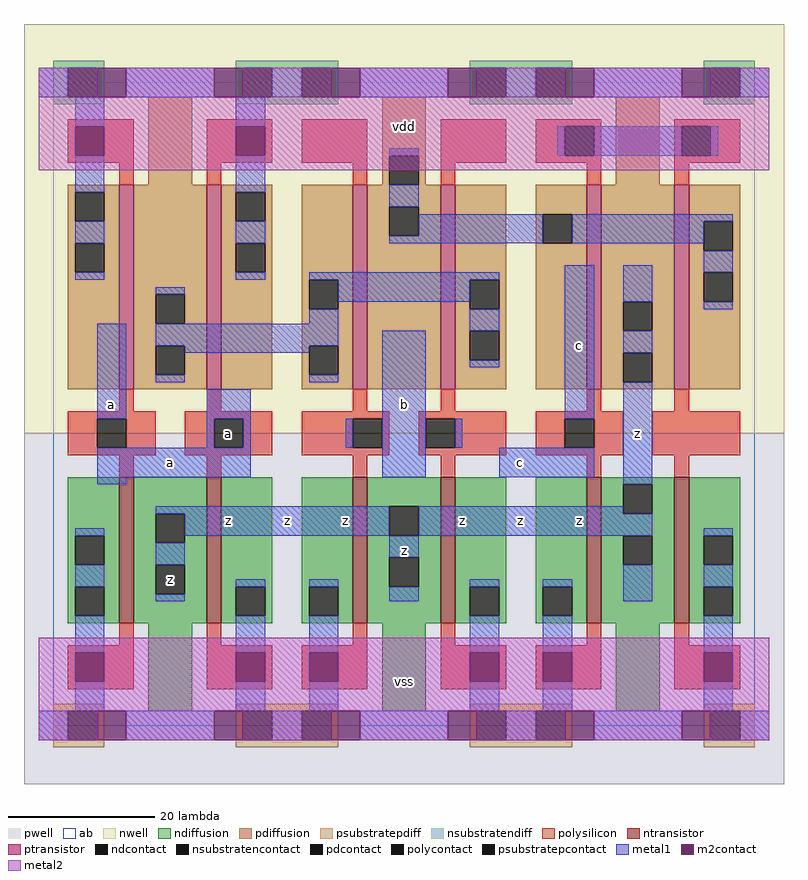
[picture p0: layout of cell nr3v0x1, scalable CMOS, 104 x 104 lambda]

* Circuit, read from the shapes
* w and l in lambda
.subckt nr3v0x1 a b c vdd vss z
M1 z a vss vss nfet w=20 l=2 m=2
M2 z b vss vss nfet w=20 l=2 m=2
M3 z c vss vss nfet w=20 l=2 m=2
M4 n1 a vdd vdd pfet w=28 l=2 m=2
M5 n2 b n1 vdd pfet w=28 l=2 m=2
M6 z c n2 vdd pfet w=28 l=2 m=2
.ends

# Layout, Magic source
magic
tech scmos
<< ab >>
rect 0 0 96 88
<< pwell >>
rect -4 -8 100 40
<< nwell >>
rect -4 40 100 96
<< polysilicon >>
rect 2 77 11 83
rect 9 74 11 77
rect 21 77 30 83
rect 34 77 43 83
rect 21 74 23 77
rect 41 74 43 77
rect 53 77 62 83
rect 66 82 75 83
rect 66 78 70 82
rect 74 78 75 82
rect 66 77 75 78
rect 53 74 55 77
rect 73 74 75 77
rect 85 82 94 83
rect 85 78 86 82
rect 90 78 94 82
rect 85 77 94 78
rect 85 74 87 77
rect 9 43 11 46
rect 21 43 23 46
rect 41 43 43 46
rect 53 43 55 46
rect 73 43 75 46
rect 85 43 87 46
rect 2 42 14 43
rect 2 38 6 42
rect 10 38 14 42
rect 2 37 14 38
rect 18 42 30 43
rect 18 38 22 42
rect 26 38 30 42
rect 18 37 30 38
rect 34 42 46 43
rect 34 38 41 42
rect 45 38 46 42
rect 34 37 46 38
rect 50 42 62 43
rect 50 38 51 42
rect 55 38 62 42
rect 50 37 62 38
rect 66 42 78 43
rect 66 38 70 42
rect 74 38 78 42
rect 66 37 78 38
rect 82 37 94 43
rect 9 34 11 37
rect 21 34 23 37
rect 41 34 43 37
rect 53 34 55 37
rect 73 34 75 37
rect 85 34 87 37
rect 9 11 11 14
rect 2 5 11 11
rect 21 11 23 14
rect 41 11 43 14
rect 21 5 30 11
rect 34 5 43 11
rect 53 11 55 14
rect 73 11 75 14
rect 53 5 62 11
rect 66 5 75 11
rect 85 11 87 14
rect 85 5 94 11
<< ndiffusion >>
rect 2 26 9 34
rect 2 22 3 26
rect 7 22 9 26
rect 2 19 9 22
rect 2 15 3 19
rect 7 15 9 19
rect 2 14 9 15
rect 11 29 21 34
rect 11 25 14 29
rect 18 25 21 29
rect 11 22 21 25
rect 11 18 14 22
rect 18 18 21 22
rect 11 14 21 18
rect 23 19 30 34
rect 23 15 25 19
rect 29 15 30 19
rect 23 14 30 15
rect 34 19 41 34
rect 34 15 35 19
rect 39 15 41 19
rect 34 14 41 15
rect 43 30 53 34
rect 43 26 46 30
rect 50 26 53 30
rect 43 23 53 26
rect 43 19 46 23
rect 50 19 53 23
rect 43 14 53 19
rect 55 19 62 34
rect 55 15 57 19
rect 61 15 62 19
rect 55 14 62 15
rect 66 19 73 34
rect 66 15 67 19
rect 71 15 73 19
rect 66 14 73 15
rect 75 33 85 34
rect 75 29 78 33
rect 82 29 85 33
rect 75 26 85 29
rect 75 22 78 26
rect 82 22 85 26
rect 75 14 85 22
rect 87 26 94 34
rect 87 22 89 26
rect 93 22 94 26
rect 87 19 94 22
rect 87 15 89 19
rect 93 15 94 19
rect 87 14 94 15
rect 13 2 19 14
rect 45 2 51 14
rect 77 2 83 14
<< pdiffusion >>
rect 13 74 19 86
rect 45 78 51 86
rect 45 74 46 78
rect 50 74 51 78
rect 77 74 83 86
rect 2 73 9 74
rect 2 69 3 73
rect 7 69 9 73
rect 2 66 9 69
rect 2 62 3 66
rect 7 62 9 66
rect 2 46 9 62
rect 11 59 21 74
rect 11 55 14 59
rect 18 55 21 59
rect 11 52 21 55
rect 11 48 14 52
rect 18 48 21 52
rect 11 46 21 48
rect 23 73 30 74
rect 23 69 25 73
rect 29 69 30 73
rect 23 66 30 69
rect 23 62 25 66
rect 29 62 30 66
rect 23 46 30 62
rect 34 61 41 74
rect 34 57 35 61
rect 39 57 41 61
rect 34 52 41 57
rect 34 48 35 52
rect 39 48 41 52
rect 34 46 41 48
rect 43 71 53 74
rect 43 67 46 71
rect 50 67 53 71
rect 43 46 53 67
rect 55 61 62 74
rect 55 57 57 61
rect 61 57 62 61
rect 55 54 62 57
rect 55 50 57 54
rect 61 50 62 54
rect 55 46 62 50
rect 66 70 73 74
rect 66 66 67 70
rect 71 66 73 70
rect 66 46 73 66
rect 75 58 85 74
rect 75 54 78 58
rect 82 54 85 58
rect 75 51 85 54
rect 75 47 78 51
rect 82 47 85 51
rect 75 46 85 47
rect 87 69 94 74
rect 87 65 89 69
rect 93 65 94 69
rect 87 62 94 65
rect 87 58 89 62
rect 93 58 94 62
rect 87 46 94 58
<< metal1 >>
rect -2 86 2 90
rect 10 86 22 90
rect 30 86 34 90
rect 42 86 54 90
rect 62 86 66 90
rect 74 86 86 90
rect 94 86 98 90
rect 3 82 7 86
rect 3 73 7 78
rect 3 66 7 69
rect 3 61 7 62
rect 25 82 29 86
rect 25 73 29 78
rect 25 66 29 69
rect 46 78 50 79
rect 69 78 70 82
rect 74 78 86 82
rect 90 78 91 82
rect 46 71 50 74
rect 50 67 67 70
rect 46 66 67 67
rect 71 69 93 70
rect 71 66 89 69
rect 25 61 29 62
rect 35 61 61 62
rect 14 59 18 60
rect 39 58 57 61
rect 35 55 39 57
rect 6 42 10 55
rect 14 52 39 55
rect 57 54 61 57
rect 18 51 35 52
rect 14 47 18 48
rect 35 47 39 48
rect 21 42 27 46
rect 21 38 22 42
rect 26 38 27 42
rect 40 38 41 42
rect 6 34 27 38
rect 45 34 51 54
rect 57 49 61 50
rect 70 42 74 63
rect 55 38 56 42
rect 61 34 74 38
rect 78 58 82 63
rect 89 62 93 65
rect 89 57 93 58
rect 78 51 82 54
rect 6 33 10 34
rect 78 33 82 47
rect 14 29 46 30
rect 3 26 7 27
rect 3 19 7 22
rect 18 26 46 29
rect 50 29 78 30
rect 50 26 82 29
rect 14 22 18 25
rect 46 23 50 26
rect 14 17 18 18
rect 25 19 29 20
rect 3 10 7 15
rect 3 2 7 6
rect 25 10 29 15
rect 25 2 29 6
rect 35 19 39 20
rect 46 17 50 19
rect 57 19 61 20
rect 35 10 39 15
rect 35 2 39 6
rect 57 10 61 15
rect 57 2 61 6
rect 67 19 71 20
rect 78 17 82 22
rect 89 26 93 27
rect 89 19 93 22
rect 67 10 71 15
rect 67 2 71 6
rect 89 10 93 15
rect 89 2 93 6
rect -2 -2 2 2
rect 10 -2 22 2
rect 30 -2 34 2
rect 42 -2 54 2
rect 62 -2 66 2
rect 74 -2 86 2
rect 94 -2 98 2
<< metal2 >>
rect -2 86 6 90
rect 10 86 22 90
rect 26 86 38 90
rect 42 86 54 90
rect 58 86 70 90
rect 74 86 86 90
rect 90 86 98 90
rect -2 82 98 86
rect -2 78 3 82
rect 7 78 25 82
rect 29 78 98 82
rect -2 76 98 78
rect -2 10 98 12
rect -2 6 3 10
rect 7 6 25 10
rect 29 6 35 10
rect 39 6 57 10
rect 61 6 67 10
rect 71 6 89 10
rect 93 6 98 10
rect -2 2 98 6
rect -2 -2 6 2
rect 10 -2 22 2
rect 26 -2 38 2
rect 42 -2 54 2
rect 58 -2 70 2
rect 74 -2 86 2
rect 90 -2 98 2
<< ntransistor >>
rect 9 14 11 34
rect 21 14 23 34
rect 41 14 43 34
rect 53 14 55 34
rect 73 14 75 34
rect 85 14 87 34
<< ptransistor >>
rect 9 46 11 74
rect 21 46 23 74
rect 41 46 43 74
rect 53 46 55 74
rect 73 46 75 74
rect 85 46 87 74
<< polycontact >>
rect 70 78 74 82
rect 86 78 90 82
rect 6 38 10 42
rect 22 38 26 42
rect 41 38 45 42
rect 51 38 55 42
rect 70 38 74 42
<< ndcontact >>
rect 3 22 7 26
rect 3 15 7 19
rect 14 25 18 29
rect 14 18 18 22
rect 25 15 29 19
rect 35 15 39 19
rect 46 26 50 30
rect 46 19 50 23
rect 57 15 61 19
rect 67 15 71 19
rect 78 29 82 33
rect 78 22 82 26
rect 89 22 93 26
rect 89 15 93 19
<< pdcontact >>
rect 46 74 50 78
rect 3 69 7 73
rect 3 62 7 66
rect 14 55 18 59
rect 14 48 18 52
rect 25 69 29 73
rect 25 62 29 66
rect 35 57 39 61
rect 35 48 39 52
rect 46 67 50 71
rect 57 57 61 61
rect 57 50 61 54
rect 67 66 71 70
rect 78 54 82 58
rect 78 47 82 51
rect 89 65 93 69
rect 89 58 93 62
<< m2contact >>
rect 6 86 10 90
rect 22 86 26 90
rect 38 86 42 90
rect 54 86 58 90
rect 70 86 74 90
rect 86 86 90 90
rect 3 78 7 82
rect 25 78 29 82
rect 3 6 7 10
rect 25 6 29 10
rect 35 6 39 10
rect 57 6 61 10
rect 67 6 71 10
rect 89 6 93 10
rect 6 -2 10 2
rect 22 -2 26 2
rect 38 -2 42 2
rect 54 -2 58 2
rect 70 -2 74 2
rect 86 -2 90 2
<< psubstratepcontact >>
rect 2 -2 6 2
rect 26 -2 30 2
rect 34 -2 38 2
rect 58 -2 62 2
rect 66 -2 70 2
rect 90 -2 94 2
<< nsubstratencontact >>
rect 2 86 6 90
rect 26 86 30 90
rect 34 86 38 90
rect 58 86 62 90
rect 66 86 70 90
rect 90 86 94 90
<< psubstratepdiff >>
rect 0 2 7 3
rect 25 2 39 3
rect 57 2 71 3
rect 89 2 96 3
rect 0 -2 2 2
rect 6 -2 7 2
rect 0 -3 7 -2
rect 25 -2 26 2
rect 30 -2 34 2
rect 38 -2 39 2
rect 25 -3 39 -2
rect 57 -2 58 2
rect 62 -2 66 2
rect 70 -2 71 2
rect 57 -3 71 -2
rect 89 -2 90 2
rect 94 -2 96 2
rect 89 -3 96 -2
<< nsubstratendiff >>
rect 0 90 7 91
rect 0 86 2 90
rect 6 86 7 90
rect 25 90 39 91
rect 25 86 26 90
rect 30 86 34 90
rect 38 86 39 90
rect 57 90 71 91
rect 57 86 58 90
rect 62 86 66 90
rect 70 86 71 90
rect 89 90 96 91
rect 89 86 90 90
rect 94 86 96 90
rect 0 85 7 86
rect 25 85 39 86
rect 57 85 71 86
rect 89 85 96 86
<< labels >>
rlabel metal1 8 44 8 44 6 a
rlabel ndcontact 16 20 16 20 6 z
rlabel metal1 32 28 32 28 6 z
rlabel metal1 24 28 24 28 6 z
rlabel metal1 16 36 16 36 6 a
rlabel polycontact 24 40 24 40 6 a
rlabel metal1 40 28 40 28 6 z
rlabel metal1 56 28 56 28 6 z
rlabel metal1 48 24 48 24 6 z
rlabel metal1 48 44 48 44 6 b
rlabel metal1 72 28 72 28 6 z
rlabel metal1 64 28 64 28 6 z
rlabel metal1 64 36 64 36 6 c
rlabel metal1 72 52 72 52 6 c
rlabel metal1 80 40 80 40 6 z
rlabel metal2 48 6 48 6 6 vss
rlabel metal2 48 82 48 82 6 vdd
<< end >>
